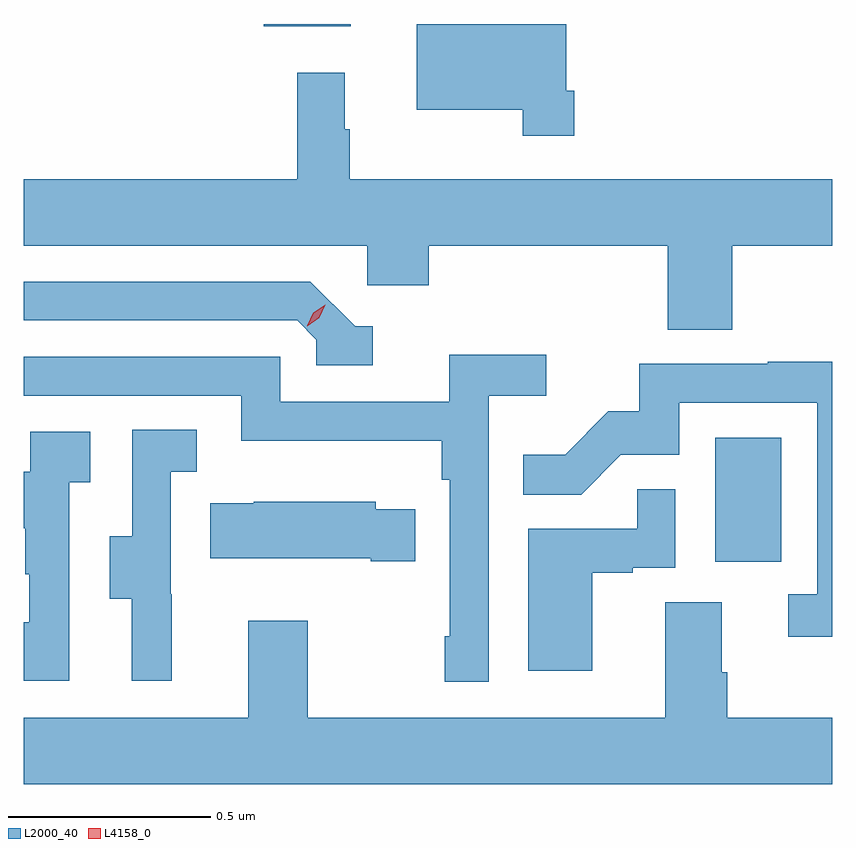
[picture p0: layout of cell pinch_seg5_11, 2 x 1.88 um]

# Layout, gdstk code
import gdstk
lib = gdstk.Library(unit=1e-6, precision=1e-09)
def R(c, l, rs):  # rectangles x0, y0, x1, y1
    for r in rs: c.add(gdstk.rectangle(r[:2], r[2:], *l))
def P(c, l, *ps):  # polygons
    for p in ps: c.add(gdstk.Polygon(p, *l))
L2000_40 = (2000, 40)
L4158_0 = (4158, 0)

pinch_seg5_11 = lib.new_cell('pinch_seg5_11')
R(pinch_seg5_11, L2000_40, [(1135.502,907.926,1135.666,908.233), (1134.386,909.251,1134.601,909.256)])
P(pinch_seg5_11, L2000_40, [(1135.154,909.091),(1135.134,909.091),(1135.134,909.256),(1134.764,909.256),(1134.764,909.044),(1135.026,909.044),(1135.026,908.979),(1135.154,908.979)],
  [(1134.598,908.996),(1134.586,908.996),(1134.586,909.136),(1134.469,909.136),(1134.469,908.872),(1133.792,908.872),(1133.792,908.708),(1134.642,908.708),(1134.642,908.61),(1134.794,908.61),(1134.794,908.708),(1135.385,908.708),(1135.385,908.5),(1135.545,908.5),(1135.545,908.708),(1135.792,908.708),(1135.792,908.872),(1134.598,908.872)],
  [(1134.655,908.508),(1134.612,908.508),(1134.501,908.619),(1133.792,908.619),(1133.792,908.523),(1134.468,908.523),(1134.516,908.475),(1134.516,908.412),(1134.655,908.412)],
  [(1134.942,908.336),(1135.084,908.336),(1135.084,908.438),(1134.845,908.438),(1134.845,908.322),(1134.426,908.322),(1134.426,908.433),(1133.792,908.433),(1133.792,908.337),(1134.33,908.337),(1134.33,908.225),(1134.826,908.225),(1134.826,908.129),(1134.846,908.129),(1134.846,907.741),(1134.834,907.741),(1134.834,907.629),(1134.942,907.629)],
  [(1135.792,908.42),(1135.633,908.42),(1135.633,908.415),(1135.315,908.415),(1135.315,908.298),(1135.238,908.298),(1135.131,908.191),(1135.027,908.191),(1135.027,908.092),(1135.171,908.092),(1135.269,908.19),(1135.413,908.19),(1135.413,908.319),(1135.755,908.319),(1135.755,907.845),(1135.683,907.845),(1135.683,907.74),(1135.792,907.74)],
  [(1134.158,907.845),(1134.156,907.845),(1134.156,908.149),(1134.22,908.149),(1134.22,908.252),(1134.06,908.252),(1134.06,907.989),(1134.005,907.989),(1134.005,907.834),(1134.059,907.834),(1134.059,907.632),(1134.158,907.632)],
  [(1133.904,908.123),(1133.956,908.123),(1133.956,908.247),(1133.808,908.247),(1133.808,908.149),(1133.792,908.149),(1133.792,908.009),(1133.796,908.009),(1133.796,907.895),(1133.806,907.895),(1133.806,907.776),(1133.792,907.776),(1133.792,907.632),(1133.904,907.632)],
  [(1135.198,907.899),(1135.298,907.899),(1135.298,907.911),(1135.404,907.911),(1135.404,908.105),(1135.309,908.105),(1135.309,908.007),(1135.04,908.007),(1135.04,907.656),(1135.198,907.656)],
  [(1134.761,908.056),(1134.663,908.056),(1134.663,908.074),(1134.361,908.074),(1134.361,908.071),(1134.253,908.071),(1134.253,907.934),(1134.65,907.934),(1134.65,907.927),(1134.761,907.927)],
  [(1135.792,907.54),(1135.532,907.54),(1135.532,907.652),(1135.519,907.652),(1135.519,907.826),(1135.379,907.826),(1135.379,907.54),(1134.495,907.54),(1134.495,907.78),(1134.347,907.78),(1134.347,907.54),(1133.792,907.54),(1133.792,907.376),(1135.792,907.376)])
P(pinch_seg5_11, L4158_0, [(1134.493,908.508),(1134.493,908.509),(1134.508,908.542),(1134.538,908.562),(1134.538,908.562),(1134.538,908.561),(1134.523,908.529),(1134.493,908.508)])

lib.write_gds('pinch_seg5_11.gds')
